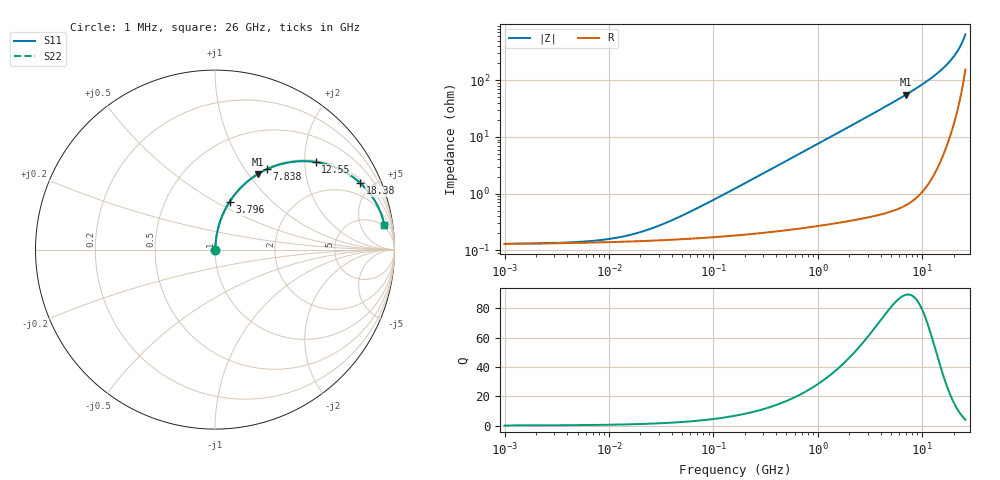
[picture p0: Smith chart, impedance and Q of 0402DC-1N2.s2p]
# MHz  S  MA  R  50
!Freq  MagS11  AngS11  MagS21  AngS21  MagS12  AngS12  MagS22  AngS22
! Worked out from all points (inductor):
!   801 points, 1 MHz to 26 GHz, reference 50 ohm
!   read as one part in series: L = 1.2 nH near 64.83 MHz
!   highest Q = 89.1 at 6.99 GHz (marker M1), where L = 1.26 nH
!   S11 on the Smith chart (normalised r, x): 1 MHz: 1.00, +0.00; 3.796 GHz: 1.01, +0.58; 7.838 GHz: 1.01, +1.26; 12.55 GHz: 1.04, +2.27; 18.38 GHz: 1.20, +4.28; 26 GHz: 4, +12
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1  0.001296 3.3  0.9987 -0.0  0.9987 -0.0  0.001296 3.3
5.497621  0.001416 17.0  0.9986 -0.0  0.9986 -0.0  0.001416 17.0
8.914052  0.001537 25.9  0.9986 -0.0  0.9986 -0.0  0.001537 25.9
13.56304  0.001744 35.8  0.9986 -0.1  0.9986 -0.1  0.001744 35.8
20.11831  0.002097 46.2  0.9985 -0.1  0.9985 -0.1  0.002097 46.2
29.84186  0.002698 56.3  0.9985 -0.1  0.9985 -0.1  0.002698 56.3
59.30692  0.004741 70.1  0.9984 -0.3  0.9984 -0.3  0.004741 70.1
161.9858  0.01233 80.8  0.9981 -0.7  0.9981 -0.7  0.01233 80.8
420.4884  0.0317 84.3  0.9973 -1.8  0.9973 -1.8  0.0317 84.3
879.282  0.06608 84.0  0.9952 -3.8  0.9952 -3.8  0.06608 84.0
1934.627  0.1445 80.4  0.9863 -8.3  0.9863 -8.3  0.1445 80.4
3796.233  0.278 73.0  0.9566 -16.1  0.9566 -16.1  0.278 73.0
4833.96  0.3486 68.9  0.9329 -20.4  0.9329 -20.4  0.3486 68.9
6990.208  0.4834 60.5  0.87 -28.9  0.87 -28.9  0.4834 60.5
7837.965  0.5314 57.3  0.8412 -32.1  0.8412 -32.1  0.5314 57.3
10108.28  0.6453 49.1  0.7558 -40.2  0.7558 -40.2  0.6453 49.1
12548.16  0.7436 41.0  0.6561 -48.0  0.6561 -48.0  0.7436 41.0
15185.72  0.824 33.1  0.5458 -55.5  0.5458 -55.5  0.824 33.1
18377.68  0.8906 24.6  0.416 -62.8  0.416 -62.8  0.8906 24.6
20088.92  0.9149 20.4  0.3498 -65.9  0.3498 -65.9  0.9149 20.4
21959.5  0.9339 16.3  0.2812 -68.4  0.2812 -68.4  0.9339 16.3
26000  0.9538 8.3  0.1483 -67.8  0.1483 -67.8  0.9538 8.3
